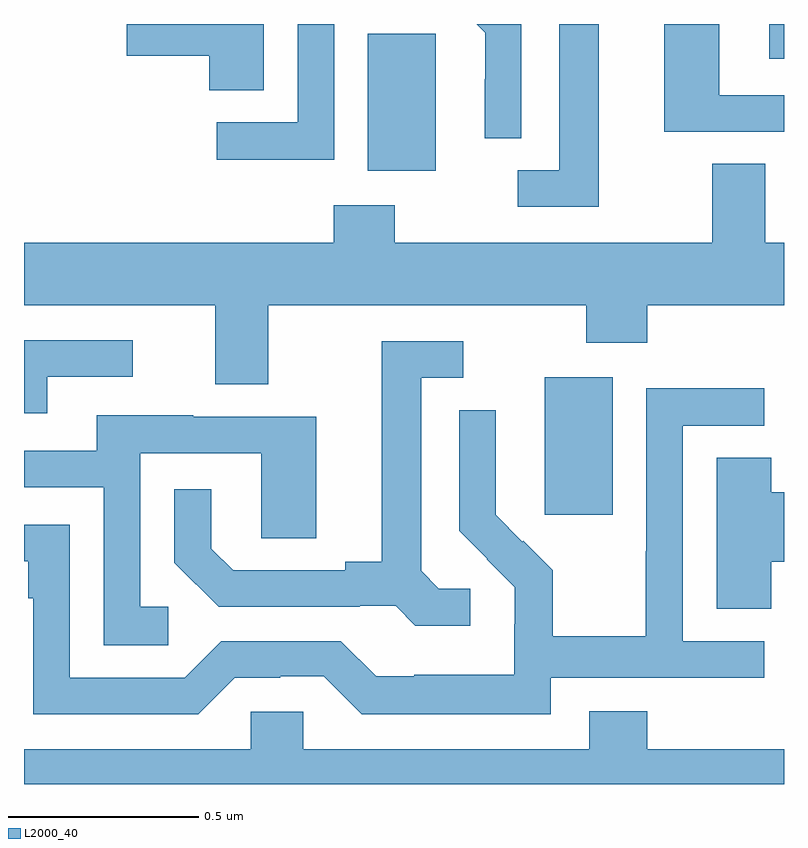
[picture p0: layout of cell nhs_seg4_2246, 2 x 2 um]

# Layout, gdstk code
import gdstk
lib = gdstk.Library(unit=1e-6, precision=1e-09)
def R(c, l, rs):  # rectangles x0, y0, x1, y1
    for r in rs: c.add(gdstk.rectangle(r[:2], r[2:], *l))
def P(c, l, *ps):  # polygons
    for p in ps: c.add(gdstk.Polygon(p, *l))
L2000_40 = (2000, 40)

nhs_seg4_2246 = lib.new_cell('nhs_seg4_2246')
R(nhs_seg4_2246, L2000_40, [(139.37,789.609,139.549,789.97), (138.905,790.514,139.084,790.875), (139.961,790.809,140,790.9)])
P(nhs_seg4_2246, L2000_40, [(139.308,790.9),(139.191,790.9),(139.214,790.877),(139.214,790.754),(139.212,790.754),(139.212,790.6),(139.308,790.6)],
  [(140,790.713),(139.83,790.713),(139.83,790.9),(139.685,790.9),(139.685,790.617),(140,790.617)],
  [(139.513,790.9),(139.409,790.9),(139.409,790.515),(139.299,790.515),(139.299,790.419),(139.513,790.419)],
  [(138.631,790.9),(138.27,790.9),(138.27,790.817),(138.488,790.817),(138.488,790.726),(138.631,790.726)],
  [(138.816,790.9),(138.72,790.9),(138.72,790.641),(138.507,790.641),(138.507,790.543),(138.816,790.543)],
  [(138.643,790.16),(139.48,790.16),(139.48,790.061),(139.64,790.061),(139.64,790.16),(140,790.16),(140,790.324),(139.951,790.324),(139.951,790.532),(139.811,790.532),(139.811,790.324),(138.975,790.324),(138.975,790.423),(138.815,790.423),(138.815,790.324),(138,790.324),(138,790.16),(138.503,790.16),(138.503,789.952),(138.643,789.952)],
  [(138.061,789.972),(138.286,789.972),(138.286,790.068),(138,790.068),(138,789.876),(138.061,789.876)],
  [(139.174,789.414),(139.092,789.414),(139.045,789.461),(139.045,789.969),(139.156,789.969),(139.156,790.065),(138.941,790.065),(138.941,789.485),(138.845,789.485),(138.845,789.462),(138.55,789.462),(138.493,789.519),(138.493,789.676),(138.396,789.676),(138.396,789.482),(138.512,789.366),(138.884,789.366),(138.884,789.369),(138.978,789.369),(139.03,789.317),(139.174,789.317)],
  [(139.386,789.18),(139.948,789.18),(139.948,789.276),(139.734,789.276),(139.734,789.843),(139.948,789.843),(139.948,789.942),(139.638,789.942),(139.638,789.512),(139.636,789.512),(139.636,789.289),(139.391,789.289),(139.391,789.463),(139.314,789.54),(139.311,789.537),(139.241,789.608),(139.241,789.73),(139.242,789.73),(139.242,789.884),(139.146,789.884),(139.146,789.566),(139.219,789.493),(139.218,789.492),(139.292,789.418),(139.292,789.321),(139.29,789.321),(139.29,789.187),(139.027,789.187),(139.027,789.183),(138.927,789.183),(138.834,789.276),(138.519,789.276),(138.423,789.18),(138.12,789.18),(138.12,789.582),(138,789.582),(138,789.486),(138.011,789.486),(138.011,789.389),(138.024,789.389),(138.024,789.084),(138.459,789.084),(138.555,789.18),(138.674,789.18),(138.674,789.183),(138.789,789.183),(138.889,789.083),(139.386,789.083)],
  [(138.379,789.366),(138.306,789.366),(138.306,789.771),(138.624,789.771),(138.624,789.547),(138.769,789.547),(138.769,789.867),(138.445,789.867),(138.445,789.871),(138.191,789.871),(138.191,789.777),(138,789.777),(138,789.681),(138.21,789.681),(138.21,789.265),(138.379,789.265)],
  [(139.967,789.485),(140,789.485),(140,789.668),(139.967,789.668),(139.967,789.758),(139.823,789.758),(139.823,789.361),(139.967,789.361)],
  [(140,788.992),(139.64,788.992),(139.64,789.091),(139.487,789.091),(139.487,788.992),(138.735,788.992),(138.735,789.09),(138.597,789.09),(138.597,788.992),(138,788.992),(138,788.9),(140,788.9)])

lib.write_gds('nhs_seg4_2246.gds')
